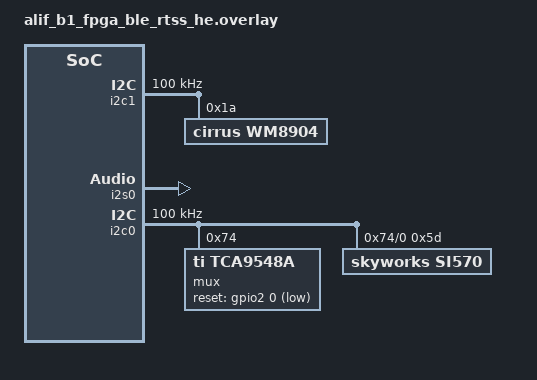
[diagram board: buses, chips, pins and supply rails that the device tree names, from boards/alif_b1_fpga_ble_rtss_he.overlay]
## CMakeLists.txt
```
# Copyright (C) 2023 Alif Semiconductor - All Rights Reserved.
# Use, distribution and modification of this code is permitted under the
# terms stated in the Alif Semiconductor Software License Agreement
#
# You should have received a copy of the Alif Semiconductor Software
# License Agreement with this file. If not, please write to:
# contact@alifsemi.com, or visit: https://alifsemi.com/license

cmake_minimum_required(VERSION 3.20.0)
find_package(Zephyr REQUIRED HINTS $ENV{ZEPHYR_BASE})
project(le_audio_broadcast_source)

target_sources(app PRIVATE
    src/main.c
    src/broadcast_source.c
    src/audio_source_simulated.c
)
```

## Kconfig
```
#Copyright(C) 2023 Alif Semiconductor - All Rights Reserved.
#Use, distribution and modification of this code is permitted under the
#terms stated in the Alif Semiconductor Software License Agreement
#
#You should have received a copy of the Alif Semiconductor Software
#License Agreement with this file.If not, please write to:
#contact @alifsemi.com, or visit : https: // alifsemi.com/license

menu "Alif Bluetooth LE Audio Broadcast Source"

config BLE_DEVICE_NAME
	string "BLE device name"
	default "ALIF_ZEPHYR"
	help
	  Device name to be included in advertising packets

config BROADCAST_NAME
	string "LE audio broadcast name"
	default "ALIF_LE_AUDIO"

config BROADCAST_PASSWORD
	string "LE audio broadcast password"
	help
	  If defined the broadcast stream will be encrypted. Length needs to be 16 chars.

config LE_AUDIO_PRESENTATION_DELAY_MS
	int "Presentation delay in ms"
	default 40
	help
	  LE audio presentation delay in ms. For the audio source use-case, this is defined as the
	  time in ms from the start of recording an audio frame, to the SDU reference anchor point
	  at which the SDU containing the same audio frame is sent over BLE. The absolute minimum
	  possible presentation delay would be the frame length (10 ms) plus the encoding time of
	  the frame, since it is impossible to send the frame before it has been fully recorded and
	  encoded. But some margin should be added on top of this to account for any overhead and
	  timing variations due to other activities of the software occurring while recording and
	  encoding the audio.

config APP_PRINT_STATS
	bool "Print info about send SDUs"
	depends on LOG

config APP_PRINT_STATS_INTERVAL
	int "Interval for printing info about send frames, in SDU count"
	default 1024
	depends on APP_PRINT_STATS
	help
	  Interval at which to print presentation delay statistics. The interval is measured in SDU
	  count, e.g. 1024 means to print the statistics every 512 SDUs (per channel). With a 10 ms
	  SDU interval this is around 10 seconds.

config MICROPHONE_GAIN
	int "Microphone gain in percentage"
	default 800
	range 100 1000

config INPUT_VOLUME_LEVEL
	int "Input volume level in percentage when MIC input is active"
	default 33
	range 10 100

menu "Logging"

module = MAIN
module-str = main
source "subsys/logging/Kconfig.template.log_config"

module = BROADCAST_SOURCE
module-str = broadcast_source
source "subsys/logging/Kconfig.template.log_config"

module = AUDIO_DATAPATH
module-str = audio_datapath
source "subsys/logging/Kconfig.template.log_config"

endmenu # "Logging"

endmenu # "Alif Bluetooth LE Audio Broadcast Source"

source "Kconfig.zephyr"
```

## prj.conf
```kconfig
# Copyright (C) 2023 Alif Semiconductor - All Rights Reserved.
# Use, distribution and modification of this code is permitted under the
# terms stated in the Alif Semiconductor Software License Agreement
#
# You should have received a copy of the Alif Semiconductor Software
# License Agreement with this file. If not, please write to:
# contact@alifsemi.com, or visit: https://alifsemi.com/license
CONFIG_BT=y
CONFIG_BT_CUSTOM=y
CONFIG_ALIF_ROM_LC3_CODEC=y
CONFIG_ALIF_BLE_AUDIO=y

CONFIG_LOG=y

CONFIG_PRESENTATION_COMPENSATION_DIRECTION_SOURCE=y

CONFIG_AUDIO=y
CONFIG_AUDIO_CODEC=y
CONFIG_AUDIO_CODEC_SHELL=y
CONFIG_SHELL=y

# This is specific to whichever clock you use. Currently presentation layer is
# commented out so this does nothing
CONFIG_AUDIO_CLOCK_DIVIDER=1

# Should be replaced by TRNG when support is available
CONFIG_TEST_RANDOM_GENERATOR=y

# malloc support is required, simplest way is using newlib although it would also be possible to
# configure heap for picolibc
CONFIG_NEWLIB_LIBC=y

# Driver support for audio
CONFIG_I2S=y
CONFIG_I2S_SYNC_BUFFER_FORMAT_SEQUENTIAL=n
CONFIG_DMA=y

CONFIG_BROADCAST_NAME="ALIF_LE_AUDIO"

CONFIG_BROADCAST_PASSWORD="passwordpassword"

# Audio driver support specific to B1 DK board.
# Audio codec is WM8904, connected via I2C.
CONFIG_I2C=y
CONFIG_WM8904=y

CONFIG_I2C_INIT_PRIORITY=50
CONFIG_WM8904_INIT_PRIORITY=99

# For MRAM(XIP) builds with LLVM exception tables cause linker errors as part of the code is placed to TCM
CONFIG_CPP_EXCEPTIONS=n
```

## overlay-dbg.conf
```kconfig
CONFIG_NO_OPTIMIZATIONS=y

# Debug
CONFIG_LOG=y
CONFIG_USE_SEGGER_RTT=y
CONFIG_RTT_CONSOLE=y

CONFIG_APP_PRINT_STATS=y

CONFIG_MAIN_LOG_LEVEL_DBG=y
CONFIG_BROADCAST_SOURCE_LOG_LEVEL_DBG=y
CONFIG_BLE_AUDIO_LOG_LEVEL_DBG=y
CONFIG_PRESENTATION_COMPENSATION_PRINT_STATS=y


## Debugging configuration
#CONFIG_THREAD_NAME=y
#CONFIG_THREAD_ANALYZER=y
#CONFIG_THREAD_ANALYZER_AUTO=y
#CONFIG_THREAD_ANALYZER_RUN_UNLOCKED=y
#CONFIG_THREAD_ANALYZER_USE_PRINTK=y

## Add asserts
CONFIG_ASSERT=y
#CONFIG_ASSERT_VERBOSE=y
#CONFIG_ASSERT_NO_COND_INFO=n
#CONFIG_ASSERT_NO_MSG_INFO=n
#CONFIG_THREAD_NAME=y
#CONFIG_STACK_SENTINEL=y

#CONFIG_LOG_MODE_IMMEDIATE=y
CONFIG_LOG_MODE_MINIMAL=y
```

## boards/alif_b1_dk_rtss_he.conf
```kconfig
# Copyright (C) 2023 Alif Semiconductor - All Rights Reserved.
# Use, distribution and modification of this code is permitted under the
# terms stated in the Alif Semiconductor Software License Agreement
#
# You should have received a copy of the Alif Semiconductor Software
# License Agreement with this file. If not, please write to:
# contact@alifsemi.com, or visit: https://alifsemi.com/license

# Audio driver support specific to B1 DK board.
# Audio codec is WM8904, connected via I2C.
CONFIG_I2C=y
CONFIG_WM8904=y

CONFIG_I2C_INIT_PRIORITY=50
CONFIG_I2C_TCA954X_ROOT_INIT_PRIO=51
CONFIG_I2C_TCA954X_CHANNEL_INIT_PRIO=52
CONFIG_WM8904_INIT_PRIORITY=53

# This is specific to whichever clock you use. Currently presentation layer is
# commented out so this does nothing
CONFIG_AUDIO_CLOCK_DIVIDER=1

CONFIG_ALIF_BLE_AUDIO_SOURCE_MONO=n

# Debug
CONFIG_USE_SEGGER_RTT=y
CONFIG_RTT_CONSOLE=y
CONFIG_MAIN_LOG_LEVEL_DBG=y
CONFIG_BROADCAST_SOURCE_LOG_LEVEL_DBG=y
CONFIG_BLE_AUDIO_LOG_LEVEL_DBG=y
CONFIG_PRESENTATION_COMPENSATION_PRINT_STATS=y
```

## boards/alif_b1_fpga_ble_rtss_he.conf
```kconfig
# Copyright (C) 2023 Alif Semiconductor - All Rights Reserved.
# Use, distribution and modification of this code is permitted under the
# terms stated in the Alif Semiconductor Software License Agreement
#
# You should have received a copy of the Alif Semiconductor Software
# License Agreement with this file. If not, please write to:
# contact@alifsemi.com, or visit: https://alifsemi.com/license

# Audio driver support specific to B1 FPGA board.
# Audio codec is WM8904, connected via I2C.
# Audio clock is provided by SI570, connected via I2C using TCA9548 I2C mux.
CONFIG_I2C=y
CONFIG_WM8904=y
CONFIG_SI570=y

CONFIG_I2C_INIT_PRIORITY=50
CONFIG_I2C_TCA954X_ROOT_INIT_PRIO=51
CONFIG_I2C_TCA954X_CHANNEL_INIT_PRIO=52
CONFIG_WM8904_INIT_PRIORITY=53

# SI570 clock output is passed through a fixed /8 divider to create MCLK signal
CONFIG_AUDIO_CLOCK_DIVIDER=8
```

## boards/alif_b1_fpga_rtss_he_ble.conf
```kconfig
# Copyright (C) 2023 Alif Semiconductor - All Rights Reserved.
# Use, distribution and modification of this code is permitted under the
# terms stated in the Alif Semiconductor Software License Agreement
#
# You should have received a copy of the Alif Semiconductor Software
# License Agreement with this file. If not, please write to:
# contact@alifsemi.com, or visit: https://alifsemi.com/license

# Audio clock is provided by SI570, connected via I2C using TCA9548 I2C mux.
CONFIG_SI570=y

CONFIG_I2C_TCA954X_ROOT_INIT_PRIO=51
CONFIG_I2C_TCA954X_CHANNEL_INIT_PRIO=52

# SI570 clock output is passed through a fixed /8 divider to create MCLK signal
CONFIG_AUDIO_CLOCK_DIVIDER=8

# 24 MHz FPGA bitstream is not fast enough to encode stereo
CONFIG_ALIF_BLE_AUDIO_SOURCE_MONO=y
```

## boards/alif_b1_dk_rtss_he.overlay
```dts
/* Copyright (C) 2023 Alif Semiconductor - All Rights Reserved.
 * Use, distribution and modification of this code is permitted under the
 * terms stated in the Alif Semiconductor Software License Agreement
 *
 * You should have received a copy of the Alif Semiconductor Software
 * License Agreement with this file. If not, please write to:
 * contact@alifsemi.com, or visit: https: //alifsemi.com/license
 *
 */

#include <dt-bindings/pinctrl/balletto-pinctrl.h>
#include <dt-bindings/i2c/i2c.h>
#include <dt-bindings/gpio/gpio.h>

#define I2S0_IRQ_NUM  141
#define I2S0_IRQ_PRIO 3

#define LPI2S_IRQ_NUM  48
#define LPI2S_IRQ_PRIO 3

#define I2S0_DMA_RX_CH  2
#define I2S0_DMA_RX_REQ 24
#define I2S0_DMA_TX_CH  3
#define I2S0_DMA_TX_REQ 28

#define LPI2S_DMA_RX_CH  4
#define LPI2S_DMA_RX_REQ 14
#define LPI2S_DMA_TX_CH  5
#define LPI2S_DMA_TX_REQ 15

#define AUDIO_DMA_ENABLED 1
#define MIC_DMA_ENABLED 1

/ {
	aliases {
		audio-codec = &wm8904;
		i2s-input = &i2s0;
	};
};

&dma2 {
	status = "okay";
	dma-channels = <8>;
	interrupts = <0 3>, <1 3>, <2 3>, <3 3>, <4 3>, <5 3>,
		     <6 3>, <7 3>, <32 3>;
	interrupt-names = "channel0", "channel1",
			  "channel2", "channel3",
			  "channel4", "channel5",
			  "channel6", "channel7",
			  "abort";
};

&i2c1 {
	clock-frequency = <I2C_BITRATE_STANDARD>;
	status = "okay";

	wm8904: wm8904@1a {
		compatible = "cirrus,wm8904";
		reg = <0x1a>;
		status = "okay";
	};
};

&i2s0 {
	/delete-property/ clock-frequency;
	/delete-property/ driver-instance;
	compatible = "alif,i2s-sync";
	interrupts = <I2S0_IRQ_NUM I2S0_IRQ_PRIO>;
	bit-depth = <16>;
	sample-rate = <48000>;
	status = "okay";
#if AUDIO_DMA_ENABLED
	dmas = <&dma2 I2S0_DMA_RX_CH I2S0_DMA_RX_REQ>,
	       <&dma2 I2S0_DMA_TX_CH I2S0_DMA_TX_REQ>;
	dma-names = "rxdma", "txdma";
#endif
};

&pinctrl_i2c1 {
	group0 {
		pinmux = <PIN_P7_2__I2C1_SDA_C>,
			 <PIN_P7_3__I2C1_SCL_C>;
	};
};

&pinctrl_i2s0 {
	group0 {
		pinmux = <PIN_P2_4__I2S0_SDI_B>,
			 <PIN_P2_5__I2S0_SDO_B>,
			 <PIN_P1_7__I2S0_WS_A>,
			 <PIN_P1_6__I2S0_SCLK_A>;
	};
};

/* Jouystick middle button */
&pinctrl_gpio5 {
	group1 {
		pinmux = <PIN_P5_7__GPIO>;
		driver-state-control = <1>;
		read-enable = < 0x1 >;
	};
};

/* Disable unnecessary nodes */
&i2s1 {
	status = "disabled";
};

&uart_ahi {
	status = "disabled";
};
```

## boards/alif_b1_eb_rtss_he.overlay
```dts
/* Copyright (C) Alif Semiconductor - All Rights Reserved.
 * Use, distribution and modification of this code is permitted under the
 * terms stated in the Alif Semiconductor Software License Agreement
 *
 * You should have received a copy of the Alif Semiconductor Software
 * License Agreement with this file. If not, please write to:
 * contact@alifsemi.com, or visit: https: //alifsemi.com/license
 *
 */

#include <dt-bindings/pinctrl/balletto-pinctrl.h>
#include <dt-bindings/i2c/i2c.h>
#include <dt-bindings/gpio/gpio.h>

#define I2S0_IRQ_NUM  141
#define I2S0_IRQ_PRIO 3

#define LPI2S_IRQ_NUM  48
#define LPI2S_IRQ_PRIO 3

#define I2S0_DMA_RX_CH  2
#define I2S0_DMA_RX_REQ 24
#define I2S0_DMA_TX_CH  3
#define I2S0_DMA_TX_REQ 28

#define LPI2S_DMA_RX_CH  4
#define LPI2S_DMA_RX_REQ 14
#define LPI2S_DMA_TX_CH  5
#define LPI2S_DMA_TX_REQ 15

#define AUDIO_DMA_ENABLED 1
#define MIC_DMA_ENABLED 1

/ {
	aliases {
		audio-codec = &wm8904;
		i2s-input = &i2s0;
	};
};

&dma2 {
	status = "okay";
	dma-channels = <8>;
	interrupts = <0 3>, <1 3>, <2 3>, <3 3>, <4 3>, <5 3>,
		     <6 3>, <7 3>, <32 3>;
	interrupt-names = "channel0", "channel1",
			  "channel2", "channel3",
			  "channel4", "channel5",
			  "channel6", "channel7",
			  "abort";
};

&i2c0 {
	clock-frequency = <I2C_BITRATE_STANDARD>;
	status = "okay";

	wm8904: wm8904@1a {
		compatible = "cirrus,wm8904";
		reg = <0x1a>;
		status = "okay";
	};
};

&i2s0 {
	/delete-property/ clock-frequency;
	/delete-property/ driver_instance;
	compatible = "alif,i2s-sync";
	interrupts = <I2S0_IRQ_NUM I2S0_IRQ_PRIO>;
	bit-depth = <16>;
	sample-rate = <48000>;
	status = "okay";
#if AUDIO_DMA_ENABLED
	dmas = <&dma2 I2S0_DMA_RX_CH I2S0_DMA_RX_REQ>,
	       <&dma2 I2S0_DMA_TX_CH I2S0_DMA_TX_REQ>;
	dma-names = "rxdma", "txdma";
#endif
};

&pinctrl_i2c0 {
	group0 {
		pinmux = <PIN_P7_0__I2C0_SDA_C>,
			 <PIN_P7_1__I2C0_SCL_C>;
	};
};

&pinctrl_i2s0 {
	group0 {
		pinmux = <PIN_P8_0__I2S0_SDI_C>,
			 <PIN_P8_1__I2S0_SDO_C>,
			 <PIN_P8_3__I2S0_WS_C>,
			 <PIN_P8_2__I2S0_SCLK_C>;
	};
};

/* Jouystick middle button */
&pinctrl_gpio5 {
	group1 {
		pinmux = <PIN_P5_7__GPIO>;
		driver_state_control = <1>;
		read_enable = < 0x1 >;
	};
};

/* Disable unnecessary nodes */
&i2s1 {
	status = "disabled";
};

&uart_ahi {
	status = "disabled";
};
```

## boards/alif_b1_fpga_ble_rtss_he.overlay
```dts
/* Copyright (C) 2023 Alif Semiconductor - All Rights Reserved.
 * Use, distribution and modification of this code is permitted under the
 * terms stated in the Alif Semiconductor Software License Agreement
 *
 * You should have received a copy of the Alif Semiconductor Software
 * License Agreement with this file. If not, please write to:
 * contact@alifsemi.com, or visit: https://alifsemi.com/license
 *
 */

#include <dt-bindings/pinctrl/balletto-pinctrl.h>
#include <dt-bindings/i2c/i2c.h>
#include <dt-bindings/gpio/gpio.h>

/ {
	aliases {
		audio-codec = &wm8904;
		i2s-bus = &i2s0;
		mclk-gen = &si570;
	};

	soc {
		i2c1: i2c0@49011000 {
			compatible = "snps,designware-i2c";
			clock-frequency = <I2C_BITRATE_STANDARD>;
			#address-cells = <1>;
			#size-cells = <0>;
			reg = <0x49011000 0x1000>;
			pinctrl-0 = < &pinctrl_i2c1 >;
			pinctrl-names = "default";
			interrupt-parent = <&nvic>;
			interrupts = <133 3>;
			status = "okay";

			wm8904: wm8904@1a {
				compatible = "cirrus,wm8904";
				reg = <0x1a>;
				status = "okay";
			};
		};

		i2s0: i2s0@49014000 {
			compatible = "alif,i2s-sync";
			reg = <0x49014000 0x1000>;
			pinctrl-names = "default";
			pinctrl-0 = <&pinctrl_i2s0>;
			interrupts = <141 3>;
			bit-depth = <16>;
			sample-rate = <48000>;
			mono-mode;
			status = "okay";
		};

		i2c0: i2c0@49010000 {
			compatible = "snps,designware-i2c";
			clock-frequency = <I2C_BITRATE_STANDARD>;
			#address-cells = <1>;
			#size-cells = <0>;
			reg = <0x49010000 0x1000>;
			pinctrl-0 = < &pinctrl_i2c0 >;
			pinctrl-names = "default";
			interrupt-parent = <&nvic>;
			interrupts = <132 3>;
			status = "okay";

			mux: tca9548a@74 {
				compatible = "ti,tca9548a";
				reg = <0x74>;
				status = "okay";
				#address-cells = <1>;
				#size-cells = <0>;
				reset-gpios = <&gpio2 0 GPIO_ACTIVE_LOW>;

				ch0: mux_i2c@0 {
					compatible = "ti,tca9548a-channel";
					reg = <0>;
					status = "okay";
					#address-cells = <1>;
					#size-cells = <0>;

					si570: si570@5d {
						compatible = "skyworks,si570";
						reg = <0x5d>;
						factory-fout = <156250000>;
						initial-freq = <12288000>;
					};
				};
			};
		};
	};
};

&pinctrl {
	pinctrl_i2c1: pinctrl_i2c1 {
		group0 {
			/* Note: defined pinmux names are wrong so just setting numbers directly */
			pinmux = < PINMUX_PIN(PIN_P2_6, 3) >, /* I2C1 SCL */
				 	 < PINMUX_PIN(PIN_P2_7, 3) >; /* I2C1 SDA */
			read_enable = < 0x1 >;
		};
	};

	pinctrl_i2s0:pinctrl_i2s0 {
		group0 {
			/* Note: defined pinmux names are wrong so just setting numbers directly */
			pinmux = < PINMUX_PIN(PIN_P1_4, 2) >, /* I2S0 SDI A  */
				 	 < PINMUX_PIN(PIN_P1_5, 2) >, /* I2S0 SDO A  */
				 	 < PINMUX_PIN(PIN_P1_7, 3) >, /* I2S0 WS A   */
				 	 < PINMUX_PIN(PIN_P1_6, 3) >; /* I2S0 SCLK A */
		};
	};

	pinctrl_i2c0: pinctrl_i2c0 {
		group0 {
			pinmux = < PIN_P2_4__I2C0_SCL_B >,
				 	 < PIN_P2_5__I2C0_SDA_B >;
			read_enable = < 0x1 >;
		};
	};
};
```

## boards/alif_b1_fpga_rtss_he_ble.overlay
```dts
/* Copyright (C) 2023 Alif Semiconductor - All Rights Reserved.
 * Use, distribution and modification of this code is permitted under the
 * terms stated in the Alif Semiconductor Software License Agreement
 *
 * You should have received a copy of the Alif Semiconductor Software
 * License Agreement with this file. If not, please write to:
 * contact@alifsemi.com, or visit: https: //alifsemi.com/license
 *
 */

#include <dt-bindings/pinctrl/balletto-pinctrl.h>
#include <dt-bindings/i2c/i2c.h>
#include <dt-bindings/gpio/gpio.h>

/ {
	aliases {
		audio-codec = &wm8904;
		i2s-bus = &i2s0;
		mclk-gen = &si570;
	};

	soc {
		i2c1: i2c0@49011000 {
			compatible = "snps,designware-i2c";
			clock-frequency = <I2C_BITRATE_STANDARD>;
			#address-cells = <1>;
			#size-cells = <0>;
			reg = <0x49011000 0x1000>;
			pinctrl-0 = <&pinctrl_i2c1>;
			pinctrl-names = "default";
			interrupt-parent = <&nvic>;
			interrupts = <133 3>;
			status = "okay";

			wm8904: wm8904@1a {
				compatible = "cirrus,wm8904";
				reg = <0x1a>;
				status = "okay";
			};
		};

		i2s0: i2s0@49014000 {
			compatible = "alif,i2s-sync";
			reg = <0x49014000 0x1000>;
			pinctrl-names = "default";
			pinctrl-0 = <&pinctrl_i2s0>;
			interrupts = <141 3>;
			bit-depth = <16>;
			sample-rate = <48000>;
			mono-mode;
			status = "okay";
		};

		i2c0: i2c0@49010000 {
			compatible = "snps,designware-i2c";
			clock-frequency = <I2C_BITRATE_STANDARD>;
			#address-cells = <1>;
			#size-cells = <0>;
			reg = <0x49010000 0x1000>;
			pinctrl-0 = <&pinctrl_i2c0>;
			pinctrl-names = "default";
			interrupt-parent = <&nvic>;
			interrupts = <132 3>;
			status = "okay";

			mux: tca9548a@74 {
				compatible = "ti,tca9548a";
				reg = <0x74>;
				status = "okay";
				#address-cells = <1>;
				#size-cells = <0>;
				reset-gpios = <&gpio2 0 GPIO_ACTIVE_LOW>;

				ch0: mux_i2c@0 {
					compatible = "ti,tca9548a-channel";
					reg = <0>;
					status = "okay";
					#address-cells = <1>;
					#size-cells = <0>;

					si570: si570@5d {
						compatible = "skyworks,si570";
						reg = <0x5d>;
						factory-fout = <156250000>;
						initial-freq = <12288000>;
					};
				};
			};
		};
	};
};

&pinctrl {
	pinctrl_i2c1: pinctrl_i2c1 {
		group0 {
			/* Note: defined pinmux names are wrong so just setting numbers directly */
			pinmux = <PINMUX_PIN(PIN_P2_6, 3)>, /* I2C1 SCL */
				<PINMUX_PIN(PIN_P2_7, 3)>; /* I2C1 SDA */
			read_enable = <0x1>;
		};
	};

	pinctrl_i2s0: pinctrl_i2s0 {
		group0 {
			/* Note: defined pinmux names are wrong so just setting numbers directly */
			pinmux = <PINMUX_PIN(PIN_P1_4, 2)>, /* I2S0 SDI A  */
				<PINMUX_PIN(PIN_P1_5, 2)>, /* I2S0 SDO A  */
				<PINMUX_PIN(PIN_P1_7, 3)>, /* I2S0 WS A   */
				<PINMUX_PIN(PIN_P1_6, 3)>; /* I2S0 SCLK A */
		};
	};

	pinctrl_i2c0: pinctrl_i2c0 {
		group0 {
			pinmux = <PIN_P2_4__I2C0_SCL_B>,
				<PIN_P2_5__I2C0_SDA_B>;
			read_enable = <0x1>;
		};
	};
};
```

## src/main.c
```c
/* Copyright (C) 2023 Alif Semiconductor - All Rights Reserved.
 * Use, distribution and modification of this code is permitted under the
 * terms stated in the Alif Semiconductor Software License Agreement
 *
 * You should have received a copy of the Alif Semiconductor Software
 * License Agreement with this file. If not, please write to:
 * contact@alifsemi.com, or visit: https://alifsemi.com/license
 */

#include <zephyr/kernel.h>
#include <zephyr/drivers/gpio.h>
#include <zephyr/logging/log.h>
#include <zephyr/sys/__assert.h>
#include "alif_ble.h"
#include "gapm.h"
#include "gap_le.h"
#include "broadcast_source.h"
#include "audio_datapath.h"

LOG_MODULE_REGISTER(main, CONFIG_MAIN_LOG_LEVEL);

#define MIC_ENABLED (DT_NODE_EXISTS(DT_ALIAS(i2s_mic)) && DT_NODE_EXISTS(DT_ALIAS(sw0)))

#if MIC_ENABLED
static const struct gpio_dt_spec button = GPIO_DT_SPEC_GET_OR(DT_ALIAS(sw0), gpios, {0});
static const struct gpio_dt_spec led = GPIO_DT_SPEC_GET_OR(DT_ALIAS(led0), gpios, {0});

#if CONFIG_I2S_SYNC_BUFFER_FORMAT_SEQUENTIAL
#error "Sequential buffer format is not supported"
#endif
#endif

/**
 * Bluetooth stack configuration
 */
static const gapm_config_t gapm_cfg = {
	.role = GAP_ROLE_LE_BROADCASTER,
	.pairing_mode = GAPM_PAIRING_DISABLE,
	.privacy_cfg = 0,
	.renew_dur = 1500,
	.private_identity.addr = {0, 0, 0, 0, 0, 0},
	.irk.key = {0, 0, 0, 0, 0, 0, 0, 0, 0, 0, 0, 0, 0, 0, 0, 0},
	.gap_start_hdl = 0,
	.gatt_start_hdl = 0,
	.att_cfg = 0,
	.sugg_max_tx_octets = GAP_LE_MAX_OCTETS,
	/* Use the minimum transmission time to minimize latency */
	.sugg_max_tx_time = GAP_LE_MIN_TIME,
	.tx_pref_phy = GAP_PHY_ANY,
	.rx_pref_phy = GAP_PHY_ANY,
	.tx_path_comp = 0,
	.rx_path_comp = 0,
	.class_of_device = 0,  /* BT Classic only */
	.dflt_link_policy = 0, /* BT Classic only */
};

static void on_gapm_err(uint32_t metainfo, uint8_t code)
{
	LOG_ERR("gapm error %d", code);
}

static const gapm_cb_t gapm_err_cbs = {
	.cb_hw_error = on_gapm_err,
};

/* For the broadcaster role, callbacks are not mandatory */
static const gapm_callbacks_t gapm_cbs = {
	.p_con_req_cbs = NULL,
	.p_sec_cbs = NULL,
	.p_info_cbs = NULL,
	.p_le_config_cbs = NULL,
	.p_bt_config_cbs = NULL,
	.p_gapm_cbs = &gapm_err_cbs,
};

static void on_gapm_process_complete(uint32_t metainfo, uint16_t status)
{
	if (status) {
		LOG_ERR("gapm process completed with error %u", status);
		return;
	}

	LOG_DBG("gapm process completed successfully");

	int ret = broadcast_source_start();

	if (ret != 0) {
		LOG_ERR("Failed to start broadcast source with error %d", ret);
	}
}

#if MIC_ENABLED

#define BUTTON_DEBOUNCE_MS  5
#define PTT_MINIMUM_TIME_MS 200
#define BUTTON_INVERTED     true

static void set_led(bool const state)
{
	if (!led.port) {
		return;
	}
	gpio_pin_set_dt(&led, state);
}

static bool get_button_state(void)
{
	if (!button.port) {
		return false;
	}
	return !!gpio_pin_get_dt(&button) ^ BUTTON_INVERTED;
}

static void stop_push_to_talk(struct k_work *work)
{
	ARG_UNUSED(work);
	/* Stop push to talk.... */
	audio_datapath_mic_control(false);
	set_led(false);
}

static K_WORK_DELAYABLE_DEFINE(stop_ptt_work, stop_push_to_talk);

static bool last_button_state = true;

static void debounce_expired(struct k_work *work)
{
	ARG_UNUSED(work);

	bool const button_state = get_button_state();

	if (button_state == last_button_state) {
		/* Ignore if state is not changed */
		return;
	}
	last_button_state = button_state;

	if (button_state) {
		/* pressed... */
		(void)k_work_cancel_delayable(&stop_ptt_work);
		audio_datapath_mic_control(true);
		set_led(true);
		return;
	}

	/* Delay shutdown a bit to avoid weird behaviors */
	k_work_reschedule(&stop_ptt_work, K_MSEC(PTT_MINIMUM_TIME_MS));
}

static K_WORK_DELAYABLE_DEFINE(debounce_work, debounce_expired);

static void button_pressed(const struct device *dev, struct gpio_callback *cb, uint32_t pins)
{
	k_work_reschedule(&debounce_work, K_MSEC(BUTTON_DEBOUNCE_MS));
}

static int configure_button(void)
{
	static struct gpio_callback button_cb_data;

	/* Configure button */
	if (!gpio_is_ready_dt(&button)) {
		LOG_WRN("Button is not ready or not configured... ignore");
		return 0;
	}

	if (gpio_pin_configure_dt(&button, GPIO_INPUT)) {
		LOG_ERR("Button configure failed");
		return -1;
	}

	if (gpio_pin_interrupt_configure_dt(&button, GPIO_INT_EDGE_BOTH) != 0) {
		LOG_ERR("button int conf failed");
		return -1;
	}

	gpio_init_callback(&button_cb_data, button_pressed, BIT(button.pin));
	if (gpio_add_callback(button.port, &button_cb_data) != 0) {
		LOG_ERR("cb add failed");
		return -1;
	}

	last_button_state = get_button_state();

	LOG_INF("push-to-talk functionality enabled");

	return 0;
}

static int configure_led(void)
{
	if (!gpio_is_ready_dt(&led)) {
		return 0;
	}

	if (gpio_pin_configure_dt(&led, GPIO_OUTPUT_ACTIVE)) {
		LOG_ERR("led configure failed");
		return -1;
	}

	set_led(false);
	return 0;
}
#else
#define configure_button() 0
#define configure_led()    0
#endif

int main(void)
{
	if (configure_button()) {
		return -1;
	}

	if (configure_led()) {
		return -1;
	}

	int ret = alif_ble_enable(NULL);

	if (ret) {
		LOG_ERR("Failed to enable bluetooth, err %d", ret);
		return ret;
	}

	LOG_DBG("BLE enabled");

	uint16_t err = gapm_configure(0, &gapm_cfg, &gapm_cbs, on_gapm_process_complete);

	if (err != 0) {
		LOG_ERR("gapm_configure error %u", err);
		return -1;
	}

	while (1) {
		k_sleep(K_SECONDS(5));
	}

	return 0;
}
```

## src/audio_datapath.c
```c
/* Copyright (C) 2025 Alif Semiconductor - All Rights Reserved.
 * Use, distribution and modification of this code is permitted under the
 * terms stated in the Alif Semiconductor Software License Agreement
 *
 * You should have received a copy of the Alif Semiconductor Software
 * License Agreement with this file. If not, please write to:
 * contact@alifsemi.com, or visit: https://alifsemi.com/license
 */

#include <zephyr/kernel.h>
#include <zephyr/device.h>
#include <zephyr/logging/log.h>
#include <zephyr/audio/codec.h>
#include "bluetooth/le_audio/audio_encoder.h"
#include "bluetooth/le_audio/audio_source_i2s.h"
#include "audio_datapath.h"
#include "mic_source.h"

LOG_MODULE_REGISTER(audio_datapath, CONFIG_AUDIO_DATAPATH_LOG_LEVEL);

#define MIC_LEVEL_CALC(_s)   (((int)(_s) * CONFIG_MICROPHONE_GAIN) / 100)
#define INPUT_LEVEL_CALC(_s) (((int)(_s) * CONFIG_INPUT_VOLUME_LEVEL) / 100)

#define I2S_NODE     DT_ALIAS(i2s_input)
#define I2S_MIC_NODE DT_ALIAS(i2s_mic)
#define CODEC_NODE   DT_ALIAS(audio_codec)

const struct device *i2s_dev = DEVICE_DT_GET(I2S_NODE);
const struct device *codec_dev = DEVICE_DT_GET(CODEC_NODE);
const struct device *i2s_mic_dev = DEVICE_DT_GET_OR_NULL(I2S_MIC_NODE);

/* Audio datapath handles */
static struct audio_encoder *audio_encoder;

#if CONFIG_APP_PRINT_STATS
static void on_frame_complete(void *param, uint32_t timestamp, uint16_t sdu_seq)
{
	if ((sdu_seq % CONFIG_APP_PRINT_STATS_INTERVAL) == 0) {
		LOG_INF("SDU sequence number: %u", sdu_seq);
	}
}
#endif

#ifdef CONFIG_PRESENTATION_COMPENSATION_DEBUG
void on_timing_debug_info_ready(struct presentation_comp_debug_data *dbg_data)
{
	LOG_INF("Presentation compensation debug data is ready");
}
#endif

static int configure_codec(const uint32_t sampling_rate_hz)
{
	int ret;
	/* clang-format off */
	struct audio_codec_cfg codec_cfg = {
		.dai_type = AUDIO_DAI_TYPE_I2S,
		.dai_cfg = {
			.i2s = {
				.word_size = AUDIO_PCM_WIDTH_16_BITS,
				.channels = 2,
				.format = I2S_FMT_DATA_FORMAT_I2S,
				.options = 0,
				.frame_clk_freq = sampling_rate_hz,
				.mem_slab = NULL,
				.block_size = 0,
				.timeout = 0,
			},
		},
	};
	/* clang-format on */

	/* Configure codec */
	ret = audio_codec_configure(codec_dev, &codec_cfg);
	if (ret) {
		LOG_ERR("Failed to configure source codec. err %d", ret);
		return ret;
	}
	audio_codec_start_output(codec_dev);

	return 0;
}

__ramfunc static void audio_encoder_mixer_thread_func(void *p1, void *p2, void *p3)
{
	/* thread:
	 * get audio input jack buffer
	 * if audio_queue_mic has data available
	 *     adjust mic gain
	 *     lower input audio gain
	 *     mix mic and audio input samples
	 *     free mic data
	 * end
	 * push audio samples to LC3 encoder
	 * free audio input buffer
	 */

	struct audio_queue *audio_queue_in1 = p1; /* input I2S codec (WM8904) */
	struct audio_queue *audio_queue_in2 = p2; /* input I2S MIC */
	struct audio_queue *audio_queue_out = p3; /* output (to LC3 encoder) */
	struct audio_block *audio_in1;
	struct audio_block *audio_in2;
	struct audio_block *audio_out;
	int ret;

	LOG_DBG("Mixer thread started");

	while (1) {
		audio_out = audio_in2 = audio_in1 = NULL;
		ret = k_msgq_get(&audio_queue_in1->msgq, &audio_in1, K_FOREVER);
		if (ret || !audio_in1) {
			continue;
		}

		ret = k_msgq_get(&audio_queue_in2->msgq, &audio_in2, K_NO_WAIT);
		if (!ret && audio_in2) {
			/* Do mixing... */
			size_t const samples =
				audio_queue_in2->audio_block_samples * audio_in2->num_channels;
			pcm_sample_t *p_mic_data = audio_in2->channels[0];
			bool const mic_has_right_channel = audio_in2->num_channels > 1;

			pcm_sample_t *p_input_left = audio_in1->channels[0];
			pcm_sample_t *p_input_right =
				audio_in1->num_channels > 1 ? audio_in1->channels[1] : NULL;
			pcm_sample_t data;

			for (size_t sample = 0; sample < samples; sample++) {
				data = *p_mic_data++;
				data = MIC_LEVEL_CALC(data);

				if ((sample & 1) && mic_has_right_channel) { /* Right channel */
					if (p_input_right) {
						*p_input_right =
							data + INPUT_LEVEL_CALC(*p_input_right);
						p_input_right++;
					}
				} else { /* Left channel */
					*p_input_left = data + INPUT_LEVEL_CALC(*p_input_left);
					p_input_left++;
				}
			}
			k_mem_slab_free(&audio_queue_in2->slab, audio_in2);
		}

		ret = k_mem_slab_alloc(&audio_queue_out->slab, (void **)&audio_out, K_NO_WAIT);
		if (ret || !audio_out) {
			k_mem_slab_free(&audio_queue_in1->slab, audio_in1);
			continue;
		}

		/* Copy in1 to out */
		memcpy(audio_out, audio_in1, sizeof(*audio_out));

		ret = k_msgq_put(&audio_queue_out->msgq, &audio_out, K_NO_WAIT);
		if (ret) {
			k_mem_slab_free(&audio_queue_out->slab, audio_out);
		}
		k_mem_slab_free(&audio_queue_in1->slab, audio_in1);
	}
}

static int configure_mic_input(void)
{
	/*
	 * Two I2S input queues are used:
	 *   - audio jack I2S input (audio_queue_i2s)
	 *   - mic I2S input (audio_queue_mic)
	 *
	 * Configured (audio encoder input) audio I2S input queue will be changed
	 * to audio_queue_i2s and the created thread will mix audio_queue_mic
	 * into audio_queue_i2s. Result will be copied and pushed to
	 * audio_queue_current (audio encoder input queue).
	 */

	struct audio_queue *audio_queue_current = audio_encoder_audio_queue_get(audio_encoder);

	if (!audio_queue_current) {
		LOG_ERR("Failed to get audio queue");
		return -ENODEV;
	}

	struct audio_queue *audio_queue_mic, *audio_queue_i2s;

	audio_queue_mic = audio_queue_create(audio_queue_current->item_count,
					     audio_queue_current->sampling_freq_hz,
					     audio_queue_current->frame_duration_us);

	if (!audio_queue_mic) {
		LOG_ERR("Failed to create audio queue");
		return -ENOMEM;
	}

	audio_queue_i2s = audio_queue_create(audio_queue_current->item_count,
					     audio_queue_current->sampling_freq_hz,
					     audio_queue_current->frame_duration_us);

	if (!audio_queue_i2s) {
		audio_queue_delete(audio_queue_mic);
		LOG_ERR("Failed to create audio queue");
		return -ENOMEM;
	}

	int ret = audio_source_i2s_configure(i2s_dev, audio_queue_i2s);

	if (ret != 0) {
		audio_queue_delete(audio_queue_i2s);
		audio_queue_delete(audio_queue_mic);
		LOG_ERR("Failed to configure audio source I2S, err %d", ret);
		return ret;
	}

	ret = mic_i2s_configure(i2s_mic_dev, audio_queue_mic);
	if (ret != 0) {
		audio_queue_delete(audio_queue_i2s);
		audio_queue_delete(audio_queue_mic);
		LOG_ERR("Failed to configure mic I2S, err %d", ret);
		return ret;
	}

	static struct k_thread mixer_thread;

	static K_THREAD_STACK_DEFINE(mixer_thread_stack, 2048);

	k_tid_t tid = k_thread_create(
		&mixer_thread, mixer_thread_stack, K_THREAD_STACK_SIZEOF(mixer_thread_stack),
		audio_encoder_mixer_thread_func, audio_queue_i2s, audio_queue_mic,
		audio_queue_current, CONFIG_ALIF_BLE_HOST_THREAD_PRIORITY + 1, 0, K_NO_WAIT);

	if (!tid) {
		audio_queue_delete(audio_queue_i2s);
		audio_queue_delete(audio_queue_mic);
		LOG_ERR("Failed to create mixer thread");
		return -EINVAL;
	}

	k_thread_name_set(tid, "mixer");

	return 0;
}

int audio_datapath_init(void)
{
	if (!device_is_ready(i2s_dev)) {
		LOG_ERR("I2S device is not ready");
		return -ENODEV;
	}
	if (!device_is_ready(codec_dev)) {
		LOG_ERR("Audio codec device is not ready");
		return -ENODEV;
	}
	if (i2s_mic_dev && !device_is_ready(i2s_mic_dev)) {
		LOG_ERR("I2S MIC device is not ready");
		return -1;
	}

	struct audio_encoder_params const enc_params = {
		.i2s_dev = i2s_dev,
		.frame_duration_us =
			IS_ENABLED(CONFIG_ALIF_BLE_AUDIO_FRAME_DURATION_10MS) ? 10000 : 7500,
		.sampling_rate_hz = CONFIG_ALIF_BLE_AUDIO_FS_HZ,
		.audio_buffer_len_us = 2 * CONFIG_ALIF_BLE_AUDIO_MAX_TLATENCY,
	};

	audio_encoder_delete(audio_encoder);

	configure_codec(enc_params.sampling_rate_hz);

	audio_encoder = audio_encoder_create(&enc_params);
	if (!audio_encoder) {
		LOG_ERR("Failed to create audio encoder");
		return -ENODEV;
	}

#if CONFIG_APP_PRINT_STATS
	int ret = audio_encoder_register_cb(audio_encoder, on_frame_complete, NULL);

	if (ret != 0) {
		LOG_ERR("Failed to register encoder cb for stats, err %d", ret);
		return ret;
	}
#endif

	if (i2s_mic_dev && configure_mic_input() != 0) {
		LOG_ERR("Failed to configure mic input");
		return -1;
	}

	return 0;
}

int audio_datapath_channel_create(const size_t octets_per_frame, const uint8_t stream_lid)
{
	int ret = audio_encoder_add_channel(audio_encoder, octets_per_frame, stream_lid);

	if (ret) {
		LOG_ERR("Channel %u creation failed. Err %d", stream_lid, ret);
		return ret;
	}
	return 0;
}

void audio_datapath_start(const uint8_t stream_lid)
{
	int retval;

	retval = audio_encoder_start_channel(audio_encoder, stream_lid);
	if (retval != 0) {
		LOG_ERR("Failed to start channel %d, err %d", stream_lid, retval);
		__ASSERT(false, "Failed to start channel");
	}
}

void audio_datapath_mic_control(bool const start)
{
	/* Do nothing if audio encoder is not initialized */
	if (!audio_encoder) {
		return;
	}

	if (start) {
		LOG_INF("MIC start...");
		mic_i2s_start();
		return;
	}

	LOG_INF("MIC stop...");
	mic_i2s_stop();
}
```

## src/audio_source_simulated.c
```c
/**
 * Copyright (C) 2023 Alif Semiconductor - All Rights Reserved.
 * Use, distribution and modification of this code is permitted under the
 * terms stated in the Alif Semiconductor Software License Agreement
 *
 * You should have received a copy of the Alif Semiconductor Software
 * License Agreement with this file. If not, please write to:
 * contact@alifsemi.com, or visit: https://alifsemi.com/license
 */

#include <zephyr/kernel.h>
#include <zephyr/logging/log.h>
#include <zephyr/init.h>
#include <math.h>
#include <stdlib.h>
#include "gapi_isooshm.h"
#include "alif_lc3.h"
#include "audio_source_simulated.h"

LOG_MODULE_REGISTER(audio_source_simulated, CONFIG_AUDIO_SOURCE_SIMULATED_LOG_LEVEL);

/* TODO: define somewhere common */
#define AUDIO_FRAME_LENGTH (CONFIG_LE_AUDIO_SAMPLING_FREQUENCY_HZ / 100)

static int16_t audio_frame[AUDIO_FRAME_LENGTH];
static gapi_isooshm_dp_t dp;
static lc3_cfg_t lc3_config;
static lc3_encoder_t lc3_encoder;
static int32_t *p_encoder_scratch;
static gapi_isooshm_sdu_buf_t *p_sdu_buf;
static K_SEM_DEFINE(frame_transmitted_sem, 0, 1);

static int populate_audio_frame(void)
{
	/* Populate the audio frame with a constant tone. Since we are going to send out this frame
	 * repeatedly, the frequency of the chosen tone should be a multiple of the frame rate, to
	 * avoid any discontinuities in the audio signal. So with 10 ms frames, the frame rate is
	 * 100 Hz, and we can choose 400 Hz for the audio tone.
	 */
	const float freq_hz = 400.0f;
	const float amplitude = 10000.0f;
	const float pi = 3.14159265359f;

	for (uint32_t i = 0; i < AUDIO_FRAME_LENGTH; i++) {
		audio_frame[i] = amplitude * sin((2.0f * pi * freq_hz * i) /
						 CONFIG_LE_AUDIO_SAMPLING_FREQUENCY_HZ);
	}

	return 0;
}

static int audio_source_simulated_init(const struct device *dev)
{
	(void)dev;

	populate_audio_frame();

	/* Initialise and configure LC3 codec */
	int ret = alif_lc3_init();

	if (ret) {
		LOG_ERR("Failed to initialise LC3 ROM, err %d", ret);
		return ret;
	}

	ret = lc3_api_configure(&lc3_config, CONFIG_LE_AUDIO_SAMPLING_FREQUENCY_HZ,
				FRAME_DURATION_10_MS);
	if (ret) {
		LOG_ERR("Failed to configure LC3 codec, err %d", ret);
		return ret;
	}

	p_encoder_scratch = malloc(lc3_api_encoder_scratch_size(&lc3_config));
	if (p_encoder_scratch == NULL) {
		LOG_ERR("Failed to allocate LC3 encoder scratch memory");
		return -1;
	}

	ret = lc3_api_initialise_encoder(&lc3_config, &lc3_encoder);
	if (ret) {
		LOG_ERR("Failed to initialise LC3 encoder, err %d", ret);
		return ret;
	}

	/* Allocate SDU buffer */
	p_sdu_buf = malloc(sizeof(gapi_isooshm_sdu_buf_t) + CONFIG_LE_AUDIO_OCTETS_PER_CODEC_FRAME);
	if (p_sdu_buf == NULL) {
		LOG_ERR("Failed to allocate SDU buffer");
		return -1;
	}

	return 0;
}
SYS_INIT(audio_source_simulated_init, APPLICATION, CONFIG_APPLICATION_INIT_PRIORITY);

static void on_dp_transfer_complete(gapi_isooshm_dp_t *p_dp, gapi_isooshm_sdu_buf_t *p_buf)
{
	k_sem_give(&frame_transmitted_sem);
}

static void audio_source_simulated_thread_func(void *p1, void *p2, void *p3)
{
	uint16_t seq_num = 0;

	while (1) {
		/* Wait until the previous frame has been transmitted */
		k_sem_take(&frame_transmitted_sem, K_FOREVER);

		/* Copy the (constant) audio data into a new static buffer. The LC3 codec overwrites
		 * the input data, and we want to keep it intact for the next frame
		 */
		static int16_t tmp_audio_frame[AUDIO_FRAME_LENGTH];

		memcpy(tmp_audio_frame, audio_frame, sizeof(audio_frame));

		/* Encode the next frame into SDU buffer */
		int ret = lc3_api_encode_frame(
			&lc3_config, &lc3_encoder, tmp_audio_frame, p_sdu_buf->data,
			CONFIG_LE_AUDIO_OCTETS_PER_CODEC_FRAME, p_encoder_scratch);
		if (ret) {
			LOG_ERR("Failed to encode frame, err %d", ret);
		}

		/* Send encoded frame to ISO data path */
		p_sdu_buf->seq_num = seq_num++;
		p_sdu_buf->has_timestamp = false;
		p_sdu_buf->sdu_len = CONFIG_LE_AUDIO_OCTETS_PER_CODEC_FRAME;
		uint16_t err = gapi_isooshm_dp_set_buf(&dp, p_sdu_buf);

		if (err) {
			LOG_ERR("Failed to send frame to ISO data path, err %u", err);
		}

		if ((seq_num % 128) == 0) {
			LOG_DBG("SDU sequence number: %u", seq_num);
		}
	}
}
K_THREAD_DEFINE(audio_source_simulated_thread, CONFIG_MAIN_STACK_SIZE,
		audio_source_simulated_thread_func, NULL, NULL, NULL,
		CONFIG_ALIF_BLE_HOST_THREAD_PRIORITY, 0, 0);

int audio_source_simulated_start(uint8_t stream_lid)
{
	uint16_t err = gapi_isooshm_dp_init(&dp, on_dp_transfer_complete);

	if (err) {
		LOG_ERR("Failed to initialise gapi_isooshm data path, err %u", err);
		return -1;
	}

	err = gapi_isooshm_dp_bind(&dp, stream_lid, GAPI_DP_DIRECTION_INPUT);
	if (err) {
		LOG_ERR("Failed to bind gapi_isooshm data path, err %u", err);
		return -1;
	}

	/* Start encoding of the first frame. It will be sent to data path when encoding is complete
	 */
	k_sem_give(&frame_transmitted_sem);

	return 0;
}
```

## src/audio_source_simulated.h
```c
/**
 * Copyright (C) 2023 Alif Semiconductor - All Rights Reserved.
 * Use, distribution and modification of this code is permitted under the
 * terms stated in the Alif Semiconductor Software License Agreement
 *
 * You should have received a copy of the Alif Semiconductor Software
 * License Agreement with this file. If not, please write to:
 * contact@alifsemi.com, or visit: https://alifsemi.com/license
 */

#ifndef _AUDIO_SOURCE_SIMULATED_H
#define _AUDIO_SOURCE_SIMULATED_H

#include <stdint.h>

int audio_source_simulated_start(uint8_t stream_lid);

#endif /* _AUDIO_SOURCE_SIMULATED_H */
```

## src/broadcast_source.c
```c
/* Copyright (C) 2023 Alif Semiconductor - All Rights Reserved.
 * Use, distribution and modification of this code is permitted under the
 * terms stated in the Alif Semiconductor Software License Agreement
 *
 * You should have received a copy of the Alif Semiconductor Software
 * License Agreement with this file. If not, please write to:
 * contact@alifsemi.com, or visit: https://alifsemi.com/license
 */

#include <zephyr/kernel.h>
#include <zephyr/logging/log.h>
#include <zephyr/random/random.h>
#include "bluetooth/le_audio/audio_utils.h"

#include "ke_mem.h"
#include "bap.h"
#include "bap_bc.h"
#include "bap_bc_src.h"
#include "broadcast_source.h"
#include "audio_datapath.h"

LOG_MODULE_REGISTER(broadcast_source, CONFIG_BROADCAST_SOURCE_LOG_LEVEL);

#define PRESENTATION_DELAY_US (CONFIG_LE_AUDIO_PRESENTATION_DELAY_MS * 1000)
#define SUBGROUP_ID           0
#define BIS_ID_BASE           0

#if CONFIG_ALIF_BLE_AUDIO_NMB_CHANNELS >= 2
#define STREAM_LOCATIONS (GAF_LOC_FRONT_LEFT_BIT | GAF_LOC_FRONT_RIGHT_BIT)
#else
#define STREAM_LOCATIONS (GAF_LOC_FRONT_LEFT_BIT)
#endif

#define BC_PASSWORD CONFIG_BROADCAST_PASSWORD
static const char bc_password[] = BC_PASSWORD;


static uint32_t stream_ids[CONFIG_ALIF_BLE_AUDIO_NMB_CHANNELS];
/* Local ID of the broadcast group */
static uint8_t bcast_grp_lid;

static void *alloc_stream_config(uint32_t const location_bf)
{
	/* NOTE: ke_malloc_user must be used to reserve buffer from correct heap! */
	bap_cfg_t *p_stream_cfg = ke_malloc_user(sizeof(*p_stream_cfg), KE_MEM_PROFILE);

	if (!p_stream_cfg) {
		LOG_ERR("Failed to allocate memory for stream configuration");
		return NULL;
	}

	p_stream_cfg->param = (bap_cfg_param_t){
		/* Just set specific location. Other parameters are inherited from subgroup */
		.sampling_freq = BAP_SAMPLING_FREQ_UNKNOWN,
		.frame_dur = BAP_FRAME_DUR_UNKNOWN,
		.frames_sdu = 0,
		.frame_octet = 0,
		.location_bf = location_bf,
	};
	p_stream_cfg->add_cfg.len = 0;

	return p_stream_cfg;
}

static void on_bap_bc_src_cmp_evt(const uint8_t cmd_type, const uint16_t status,
				  const uint8_t grp_lid, const uint8_t sgrp_lid)
{
	LOG_DBG("BAP BC SRC event complete, type %u status %u grp_lid %u sgrp_lid %u", cmd_type,
		status, grp_lid, sgrp_lid);

	switch (cmd_type) {
	case BAP_BC_SRC_CMD_TYPE_ENABLE_PA: {
		LOG_INF("Periodic advertising enabled");

		uint16_t err = bap_bc_src_enable(bcast_grp_lid);

		if (err) {
			LOG_ERR("Failed to enable broadcast source, err %u", err);
		}
		break;
	}

	case BAP_BC_SRC_CMD_TYPE_ENABLE: {
		LOG_INF("Broadcast group %u enabled", bcast_grp_lid);

		uint16_t err = bap_bc_src_start_streaming(bcast_grp_lid, 0xFFFFFFFF);

		if (err) {
			LOG_ERR("Failed to start streaming, err %u", err);
		}
		break;
	}

	case BAP_BC_SRC_CMD_TYPE_START_STREAMING: {
		LOG_INF("Started streaming");
		for (size_t iter = 0; iter < ARRAY_SIZE(stream_ids); iter++) {
			audio_datapath_start(stream_ids[iter]);
		}
		break;
	}

	default: {
		LOG_WRN("Unexpected bap_bc_src command complete event: %u", cmd_type);
		break;
	}
	}
}

static void on_bap_bc_src_info(const uint8_t grp_lid, const gapi_bg_config_t *p_bg_cfg,
			       const uint8_t nb_bis, const uint16_t *p_conhdl)
{
	LOG_DBG("BAP BC SRC info, grp %u, cfg %p, nb_bis %u, p_conhdl %p", grp_lid, p_bg_cfg,
		nb_bis, p_conhdl);
}

static const bap_bc_src_cb_t bap_bc_src_cbs = {.cb_cmp_evt = on_bap_bc_src_cmp_evt,
					       .cb_info = on_bap_bc_src_info};

static int get_adv_param(bap_bc_adv_param_t *p_adv_param)
{
	p_adv_param->adv_intv_min_slot = 160;
	p_adv_param->adv_intv_max_slot = 160;
	p_adv_param->ch_map = ADV_ALL_CHNLS_EN;
	p_adv_param->phy_prim = GAPM_PHY_TYPE_LE_1M;
	p_adv_param->phy_second = GAPM_PHY_TYPE_LE_2M;
	p_adv_param->adv_sid = 1;
#if CONFIG_ALIF_BLE_ROM_IMAGE_V1_0
	p_adv_param->max_tx_pwr = -2;
#else
	p_adv_param->tx_pwr = -2;
	p_adv_param->own_addr_type = GAPM_STATIC_ADDR;
	p_adv_param->max_skip = 0;
	p_adv_param->send_tx_pwr = false;
#endif
	return 0;
}

static int broadcast_source_configure_group(void)
{
	const bap_bc_grp_param_t grp_param = {
		.sdu_intv_us = IS_ENABLED(CONFIG_ALIF_BLE_AUDIO_FRAME_DURATION_10MS) ? 10000 : 7500,
		.max_sdu = CONFIG_ALIF_BLE_AUDIO_OCTETS_PER_CODEC_FRAME,
		.max_tlatency_ms = CONFIG_ALIF_BLE_AUDIO_MAX_TLATENCY,
		.packing = 0,
		.framing = ISO_UNFRAMED_MODE,
		.phy_bf = GAPM_PHY_TYPE_LE_2M,
		.rtn = CONFIG_ALIF_BLE_AUDIO_RTN};

	const gaf_codec_id_t codec_id = GAF_CODEC_ID_LC3;

	bap_bc_adv_param_t adv_param;

	int ret = get_adv_param(&adv_param);

	if (ret) {
		LOG_ERR("Failed to get advertising parameters, err %d", ret);
		return -1;
	}

	const bap_bc_per_adv_param_t per_adv_param = {
		.adv_intv_min_frame = 160,
		.adv_intv_max_frame = 160,
	};

	bap_bcast_id_t bcast_id;

	sys_rand_get(bcast_id.id, sizeof(bcast_id.id));

	const size_t bc_password_len = sizeof(bc_password) - 1;

	if (3 < bc_password_len && GAP_KEY_LEN >= bc_password_len && 0 != bc_password_len) {
		LOG_ERR("Broadcast password is invalid, len must be either 0 or %u, actual %u",
			GAP_KEY_LEN, bc_password_len);
		return -1;
	}

	gaf_bcast_code_t code;
	const gaf_bcast_code_t *ptr = NULL;

	if (bc_password_len) {
		memcpy(code.bcast_code, bc_password, bc_password_len);
		ptr = &code;
	}

	uint16_t err = bap_bc_src_add_group(&bcast_id, ptr, CONFIG_ALIF_BLE_AUDIO_NMB_CHANNELS, 1,
					    &grp_param, &adv_param, &per_adv_param,
					    PRESENTATION_DELAY_US, &bcast_grp_lid);

	if (err) {
		LOG_ERR("Failed to add broadcast group, err %u", err);
		return -1;
	}

	LOG_DBG("Broadcast group added, got local ID %u", bcast_grp_lid);

	/* This struct must be accessible to the BLE stack for the lifetime of the BIG, so is
	 * statically allocated
	 * NOTE: ke_malloc_user must be used to reserve buffer from correct heap!
	 */
	bap_cfg_t *sgrp_cfg = ke_malloc_user(sizeof(*sgrp_cfg), KE_MEM_PROFILE);

	if (!sgrp_cfg) {
		LOG_ERR("Failed to allocate memory for subgroup configuration");
		return -ENOMEM;
	}
	sgrp_cfg->param = (bap_cfg_param_t){
		/* Location is unspecified at subgroup level */
		.location_bf = 0,
		.frame_octet = CONFIG_ALIF_BLE_AUDIO_OCTETS_PER_CODEC_FRAME,
		.frame_dur = IS_ENABLED(CONFIG_ALIF_BLE_AUDIO_FRAME_DURATION_10MS)
				     ? BAP_FRAME_DUR_10MS
				     : BAP_FRAME_DUR_7_5MS,
		/* 0 is unspecified, data will not be placed in BASE */
		.frames_sdu = 0,
		/* Convert to sampling frequency */
		.sampling_freq = audio_hz_to_bap_sampling_freq(CONFIG_ALIF_BLE_AUDIO_FS_HZ),
	};
	sgrp_cfg->add_cfg.len = 0;

	/* Validate sampling frequency conversion */
	if (sgrp_cfg->param.sampling_freq == BAP_SAMPLING_FREQ_UNKNOWN) {
		LOG_ERR("Unsupported sampling frequency: %u Hz", CONFIG_ALIF_BLE_AUDIO_FS_HZ);
		return -1;
	}

	/* This struct must be accessible to the BLE stack for the lifetime of the BIG, so is
	 * statically allocated
	 * NOTE: ke_malloc_user must be used to reserve buffer from correct heap!
	 */
	bap_cfg_metadata_t *sgrp_meta = ke_malloc_user(sizeof(*sgrp_meta), KE_MEM_PROFILE);

	if (!sgrp_meta) {
		ke_free(sgrp_cfg);
		LOG_ERR("Failed to allocate memory for subgroup metadata");
		return -ENOMEM;
	}
	sgrp_meta->param.context_bf = BAP_CONTEXT_TYPE_UNSPECIFIED_BIT | BAP_CONTEXT_TYPE_MEDIA_BIT;
	sgrp_meta->add_metadata.len = 0;

	err = bap_bc_src_set_subgroup(bcast_grp_lid, SUBGROUP_ID, &codec_id, sgrp_cfg, sgrp_meta);

	if (err) {
		LOG_ERR("Failed to set subgroup, err %u", err);
		return -1;
	}
	LOG_DBG("Broadcast subgroup added");

	const uint16_t dp_id = GAPI_DP_ISOOSHM;

	size_t stream_bits = STREAM_LOCATIONS;

	for (size_t iter = 0; stream_bits != 0; stream_bits >>= 1, iter++) {
		if (!(stream_bits & 1)) {
			continue;
		}

		const uint32_t stream_id = iter + BIS_ID_BASE;
		bap_cfg_t *stream_cfg = alloc_stream_config(0x1 << iter);

		if (!stream_cfg) {
			LOG_ERR("Failed to allocate memory for stream configuration");
			return -ENOMEM;
		}

		err = bap_bc_src_set_stream(bcast_grp_lid, stream_id, SUBGROUP_ID, dp_id, 0,
					    stream_cfg);
		if (err) {
			ke_free(stream_cfg);
			LOG_ERR("Failed to set stream %u, err %u", stream_id, err);
			return -1;
		}

		err = audio_datapath_channel_create(sgrp_cfg->param.frame_octet, stream_id);
		if (err) {
			return -1;
		}

		stream_ids[iter] = stream_id;
	}

	LOG_DBG("Broadcast stream added");

	return 0;
}

static int broadcast_source_enable(void)
{
	uint8_t ad_data[1 + sizeof(CONFIG_BLE_DEVICE_NAME)];

	ad_data[0] = sizeof(ad_data) - 1; /* Size of data following the size byte */
	ad_data[1] = GAP_AD_TYPE_COMPLETE_NAME;

	memcpy(&ad_data[2], CONFIG_BLE_DEVICE_NAME, sizeof(ad_data) - 2);

	uint16_t err = bap_bc_src_enable_pa(bcast_grp_lid, sizeof(ad_data), 0, ad_data, NULL,
					    sizeof(CONFIG_BROADCAST_NAME) - 1,
					    CONFIG_BROADCAST_NAME, 0, NULL);

	if (err) {
		LOG_ERR("Failed to enable PA with error %u", err);
		return -1;
	}

	return 0;
}

int broadcast_source_start(void)
{
	int ret;
	uint16_t err = bap_bc_src_configure(&bap_bc_src_cbs);

	if (err) {
		LOG_ERR("Error %u configuring bap_bc_src", err);
		return -1;
	}

	LOG_DBG("bap_bc_src configured");

	ret = audio_datapath_init();
	if (ret) {
		LOG_ERR("Failed to initialise audio datapath, err %d", ret);
		return ret;
	}

	ret = broadcast_source_configure_group();
	if (ret) {
		LOG_ERR("Failed to configure broadcast source group, err %d", ret);
		return ret;
	}

	LOG_DBG("Broadcast group configured");

	return broadcast_source_enable();
}
```
